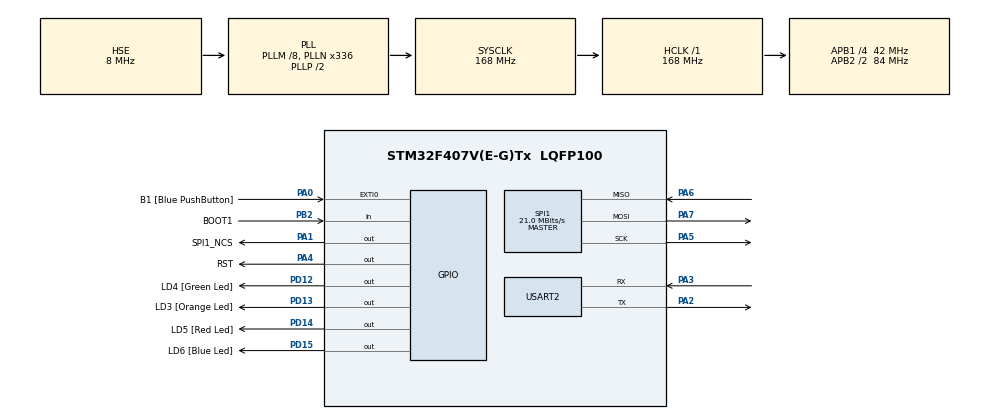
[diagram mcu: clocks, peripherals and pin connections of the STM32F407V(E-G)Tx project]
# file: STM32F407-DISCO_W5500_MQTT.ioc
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Mcu.Family=STM32F4
Mcu.Name=STM32F407V(E-G)Tx
Mcu.Package=LQFP100
NVIC.PriorityGroup=NVIC_PRIORITYGROUP_0
PA0-WKUP.GPIO_Label=B1 [Blue PushButton]
PA0-WKUP.GPIO_ModeDefaultEXTI=GPIO_MODE_EVT_RISING
PA0-WKUP.GPIO_PuPd=GPIO_NOPULL
PA0-WKUP.Signal=GPXTI0
PA1.GPIO_Label=SPI1_NCS
PA1.GPIO_Speed=GPIO_SPEED_FREQ_HIGH
PA1.PinState=GPIO_PIN_SET
PA1.Signal=GPIO_Output
PA13.GPIO_Label=SWDIO
PA13.Mode=Trace_Asynchronous_SW
PA13.Signal=SYS_JTMS-SWDIO
PA14.GPIO_Label=SWCLK
PA14.Mode=Trace_Asynchronous_SW
PA14.Signal=SYS_JTCK-SWCLK
PA2.Mode=Asynchronous
PA2.Signal=USART2_TX
PA3.Mode=Asynchronous
PA3.Signal=USART2_RX
PA4.GPIO_Label=RST
PA4.GPIO_Speed=GPIO_SPEED_FREQ_HIGH
PA4.PinState=GPIO_PIN_SET
PA4.Signal=GPIO_Output
PA5.Mode=Full_Duplex_Master
PA5.Signal=SPI1_SCK
PA6.Mode=Full_Duplex_Master
PA6.Signal=SPI1_MISO
PA7.Mode=Full_Duplex_Master
PA7.Signal=SPI1_MOSI
PB2.GPIO_Label=BOOT1
PB2.GPIO_Mode=GPIO_MODE_INPUT
PB2.GPIO_PuPd=GPIO_NOPULL
PB2.Signal=GPIO_Input
PB3.GPIO_Label=SWO
PB3.Mode=Trace_Asynchronous_SW
PB3.Signal=SYS_JTDO-SWO
PC14-OSC32_IN.GPIO_Label=PC14-OSC32_IN
PC14-OSC32_IN.Mode=LSE-External-Oscillator
PC14-OSC32_IN.Signal=RCC_OSC32_IN
PC15-OSC32_OUT.GPIO_Label=PC15-OSC32_OUT
PC15-OSC32_OUT.Mode=LSE-External-Oscillator
PC15-OSC32_OUT.Signal=RCC_OSC32_OUT
PD12.GPIO_Label=LD4 [Green Led]
PD12.GPIO_PuPd=GPIO_NOPULL
PD12.GPIO_Speed=GPIO_SPEED_FREQ_LOW
PD12.Signal=GPIO_Output
PD13.GPIO_Label=LD3 [Orange Led]
PD13.GPIO_PuPd=GPIO_NOPULL
PD13.GPIO_Speed=GPIO_SPEED_FREQ_LOW
PD13.Signal=GPIO_Output
PD14.GPIO_Label=LD5 [Red Led]
PD14.GPIO_PuPd=GPIO_NOPULL
PD14.GPIO_Speed=GPIO_SPEED_FREQ_LOW
PD14.Signal=GPIO_Output
PD15.GPIO_Label=LD6 [Blue Led]
PD15.GPIO_PuPd=GPIO_NOPULL
PD15.GPIO_Speed=GPIO_SPEED_FREQ_LOW
PD15.Signal=GPIO_Output
PH0-OSC_IN.GPIO_Label=PH0-OSC_IN
PH0-OSC_IN.Mode=HSE-External-Oscillator
PH0-OSC_IN.Signal=RCC_OSC_IN
PH1-OSC_OUT.GPIO_Label=PH1-OSC_OUT
PH1-OSC_OUT.Mode=HSE-External-Oscillator
PH1-OSC_OUT.Signal=RCC_OSC_OUT
ProjectManager.HeapSize=0x200
ProjectManager.StackSize=0x400
ProjectManager.TargetToolchain=STM32CubeIDE
RCC.48MHZClocksFreq_Value=48000000
RCC.AHBFreq_Value=168000000
RCC.APB1CLKDivider=RCC_HCLK_DIV4
RCC.APB1Freq_Value=42000000
RCC.APB1TimFreq_Value=84000000
RCC.APB2CLKDivider=RCC_HCLK_DIV2
RCC.APB2Freq_Value=84000000
RCC.APB2TimFreq_Value=168000000
RCC.CortexFreq_Value=168000000
RCC.HCLKFreq_Value=168000000
RCC.HSE_VALUE=8000000
RCC.HSI_VALUE=16000000
RCC.PLLM=8
RCC.PLLN=336
RCC.PLLQ=7
RCC.PLLSourceVirtual=RCC_PLLSOURCE_HSE
RCC.SYSCLKFreq_VALUE=168000000
RCC.SYSCLKSource=RCC_SYSCLKSOURCE_PLLCLK
RCC.VCOOutputFreq_Value=336000000
SPI1.BaudRatePrescaler=SPI_BAUDRATEPRESCALER_4
SPI1.CalculateBaudRate=21.0 MBits/s
SPI1.Direction=SPI_DIRECTION_2LINES
SPI1.Mode=SPI_MODE_MASTER
SPI1.VirtualType=VM_MASTER
USART2.VirtualMode=VM_ASYNC
board=STM32F407G-DISC1

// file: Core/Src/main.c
/* USER CODE BEGIN Header */
/**
  ******************************************************************************
  * @file           : main.c
  * @brief          : Main program body
  ******************************************************************************
  * @attention
  *
  * Copyright (c) 2024 STMicroelectronics.
  * All rights reserved.
  *
  * This software is licensed under terms that can be found in the LICENSE file
  * in the root directory of this software component.
  * If no LICENSE file comes with this software, it is provided AS-IS.
  *
  ******************************************************************************
  */
/* USER CODE END Header */
#include "main.h"
#include "spi.h"
#include "usart.h"
#include "gpio.h"

/* USER CODE BEGIN Includes */
#include <stdio.h>
#include "string.h"
#include "mqtt_app_interface.h"
#include "w5500_network.h"
/* USER CODE END Includes */

void SystemClock_Config(void);
/* USER CODE BEGIN PFP */

void on_topic_temp (MessageData * msg_data);
void on_topic_humidity (MessageData * msg_data);

/* USER CODE END PFP */

int main(void)
{

  /* MCU Configuration--------------------------------------------------------*/

  /* Reset of all peripherals, Initializes the Flash interface and the Systick. */
  HAL_Init();

  /* USER CODE BEGIN Init */
  setbuf(stdout, NULL);
  /* USER CODE END Init */

  /* Configure the system clock */
  SystemClock_Config();

  /* Initialize all configured peripherals */
  MX_GPIO_Init();
  MX_SPI1_Init();
  MX_USART2_UART_Init();
  /* USER CODE BEGIN 2 */

  printf("A Simple MQTT Client Publish/Subscription Application using W5500 DHCP\r\n");
  w5500_spi_init();

  // Configure PHY by software
  w5500_network_phy_conf();

  // start DHCP
  w5500_network_dhcp_init();

  /* USER CODE END 2 */

  /* Infinite loop */
  while (1)
  {
	  //MQTTPublish(&mqtt_client, "test/topic1", &msg);

	  w5500_network_dhcp_loop();

	  if (w5500_network_is_connected() & !mqtt_is_connected()) {
		  mqtt_broker_connect();
		  mqtt_client_init();

		  if (mqtt_subscribe_topic("room/temp", on_topic_temp) != MQTT_SUCCESS) {
			  printf("\r\nERROR: Failed to subscribed to /room/temp.");
			  while(1);
		  }

		  if (mqtt_subscribe_topic("room/humidity", on_topic_humidity) != MQTT_SUCCESS) {
			  printf("\r\nERROR: Failed to subscribed to /room/humidity.");
			  while(1);
		  }
	  }

	  /* Normal runtime loop */
	  if (w5500_network_is_connected() & mqtt_is_connected()) {
		  mqtt_loop();
	  }
  }
}

void SystemClock_Config(void)
{
  RCC_OscInitTypeDef RCC_OscInitStruct = {0};
  RCC_ClkInitTypeDef RCC_ClkInitStruct = {0};

  /** Configure the main internal regulator output voltage
  */
  __HAL_RCC_PWR_CLK_ENABLE();
  __HAL_PWR_VOLTAGESCALING_CONFIG(PWR_REGULATOR_VOLTAGE_SCALE1);

  /** Initializes the RCC Oscillators according to the specified parameters
  * in the RCC_OscInitTypeDef structure.
  */
  RCC_OscInitStruct.OscillatorType = RCC_OSCILLATORTYPE_HSE;
  RCC_OscInitStruct.HSEState = RCC_HSE_ON;
  RCC_OscInitStruct.PLL.PLLState = RCC_PLL_ON;
  RCC_OscInitStruct.PLL.PLLSource = RCC_PLLSOURCE_HSE;
  RCC_OscInitStruct.PLL.PLLM = 8;
  RCC_OscInitStruct.PLL.PLLN = 336;
  RCC_OscInitStruct.PLL.PLLP = RCC_PLLP_DIV2;
  RCC_OscInitStruct.PLL.PLLQ = 7;
  if (HAL_RCC_OscConfig(&RCC_OscInitStruct) != HAL_OK)
  {
    Error_Handler();
  }

  /** Initializes the CPU, AHB and APB buses clocks
  */
  RCC_ClkInitStruct.ClockType = RCC_CLOCKTYPE_HCLK|RCC_CLOCKTYPE_SYSCLK
                              |RCC_CLOCKTYPE_PCLK1|RCC_CLOCKTYPE_PCLK2;
  RCC_ClkInitStruct.SYSCLKSource = RCC_SYSCLKSOURCE_PLLCLK;
  RCC_ClkInitStruct.AHBCLKDivider = RCC_SYSCLK_DIV1;
  RCC_ClkInitStruct.APB1CLKDivider = RCC_HCLK_DIV4;
  RCC_ClkInitStruct.APB2CLKDivider = RCC_HCLK_DIV2;

  if (HAL_RCC_ClockConfig(&RCC_ClkInitStruct, FLASH_LATENCY_5) != HAL_OK)
  {
    Error_Handler();
  }
}

/* USER CODE BEGIN 4 */
void serial_write (const char data)
{
    while (__HAL_UART_GET_FLAG(&huart2, UART_FLAG_TXE) == RESET);

    huart2.Instance->DR = data;
}

// This is std C; make sure to get fn name correctly
int __io_putchar(int ch)
{
	serial_write(ch);
	return ch;
}

void on_topic_temp (MessageData * msg_data)
{
	printf("New msg on topic room/temp\r\n");
}

void on_topic_humidity (MessageData * msg_data)
{
	printf("New msg on topic room/humidity\r\n");
}

/* USER CODE END 4 */

void Error_Handler(void)
{
  __disable_irq();
  while (1)
  {
  }
}
